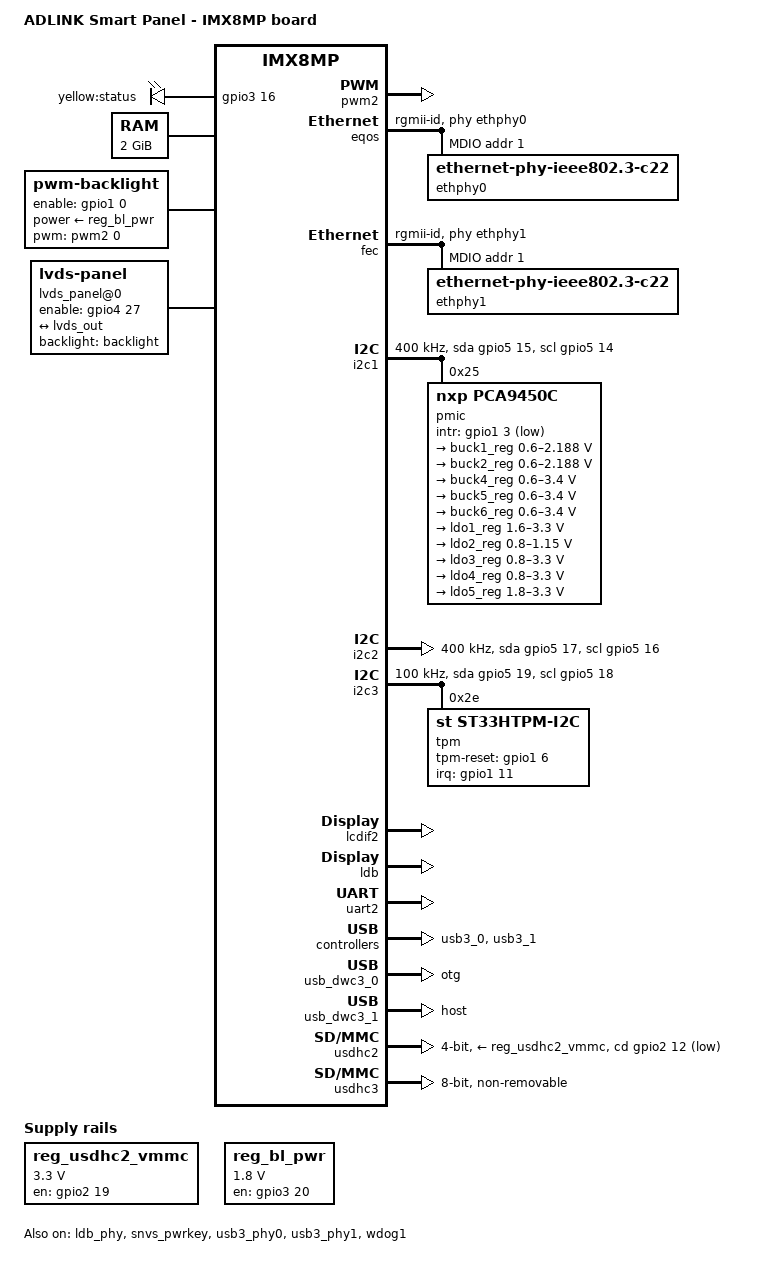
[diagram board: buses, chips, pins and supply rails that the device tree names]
// SPDX-License-Identifier: (GPL-2.0+ OR MIT)
/*
 * Copyright 2019 NXP
 */

/dts-v1/;

#include <dt-bindings/usb/pd.h>
#include "imx8mp.dtsi"

/ {
	model = "ADLINK Smart Panel - IMX8MP board";
	compatible = "fsl,imx8mp-evk", "fsl,imx8mp";

	chosen {
		bootargs = "console=ttymxc1,115200";
		stdout-path = &uart2;
	};

	gpio-leds {
		compatible = "gpio-leds";
		pinctrl-names = "default";
		pinctrl-0 = <&pinctrl_gpio_led>;

		status {
			label = "yellow:status";
			gpios = <&gpio3 16 GPIO_ACTIVE_HIGH>;
			default-state = "on";
		};
	};

	memory@40000000 {
		device_type = "memory";
		reg = <0x0 0x40000000 0 0x80000000>,
		      <0x1 0x00000000 0 0x00000000>;
	};

	reg_usdhc2_vmmc: regulator-usdhc2 {
		compatible = "regulator-fixed";
		pinctrl-names = "default";
		pinctrl-0 = <&pinctrl_reg_usdhc2_vmmc>;
		regulator-name = "VSD_3V3";
		regulator-min-microvolt = <3300000>;
		regulator-max-microvolt = <3300000>;
		gpio = <&gpio2 19 GPIO_ACTIVE_HIGH>;
		enable-active-high;
		startup-delay-us = <100>;
		off-on-delay-us = <12000>;
	};

	dsi_host: dsi-host {
		compatible = "samsung,sec-mipi-dsi";
		status = "disabled";
	};

	backlight: lvds-backlight {
		compatible = "pwm-backlight";
		power-supply = <&reg_bl_pwr>;
		pwms = <&pwm2 0 100000>;
		enable-gpios = <&gpio1 0 GPIO_ACTIVE_HIGH>; /* vin */
		brightness-levels = < 0  1  2  3  4  5  6  7  8  9
							10 11 12 13 14 15 16 17 18 19
							20 21 22 23 24 25 26 27 28 29
							30 31 32 33 34 35 36 37 38 39
							40 41 42 43 44 45 46 47 48 49
							50 51 52 53 54 55 56 57 58 59
							60 61 62 63 64 65 66 67 68 69
							70 71 72 73 74 75 76 77 78 79
							80 81 82 83 84 85 86 87 88 89
							90 91 92 93 94 95 96 97 98 99
							100>;
		default-brightness-level = <80>;
		status = "okay";
	};

	reg_bl_pwr: reg-bl-pwr {
		compatible = "regulator-fixed";
		regulator-name = "vdd";
		regulator-min-microvolt = <1800000>;
		regulator-max-microvolt = <1800000>;
		gpio = <&gpio3 20 GPIO_ACTIVE_HIGH>;
		enable-active-high;
		status = "okay";
	};

	lvds_panel@0 {
		compatible = "lvds-panel";
		backlight = <&backlight>;
		enable-gpios = <&gpio4 27 GPIO_ACTIVE_HIGH>; /* +VDD_PANEL */
		status = "okay";

		display-timings {
			native-mode = <&timing0>;
			timing0: timing0 {
				clock-frequency = <71000000>;
				hactive = <1280>;
				vactive = <800>;
				hfront-porch = <70>;
				hback-porch = <80>;
				hsync-len = <10>;
				vback-porch = <10>;
				vfront-porch = <10>;
				vsync-len = <3>;
			};
		};

		port {
			lvds_in: endpoint {
				remote-endpoint = <&lvds_out>;
			};
		};
	};
};

&pwm2 {
	pinctrl-names = "default";
	pinctrl-0 = <&pinctrl_bl_pwm2>;
	status = "okay";
};

&eqos {
	pinctrl-names = "default";
	pinctrl-0 = <&pinctrl_eqos>;
	phy-mode = "rgmii-id";
	phy-handle = <&ethphy0>;
	status = "okay";

	mdio {
		compatible = "snps,dwmac-mdio";
		#address-cells = <1>;
		#size-cells = <0>;

		ethphy0: ethernet-phy@1 {
			compatible = "ethernet-phy-ieee802.3-c22";
			reg = <1>;
			eee-broken-1000t;
		};
	};
};

&fec {
	pinctrl-names = "default";
	pinctrl-0 = <&pinctrl_fec>;
	phy-mode = "rgmii-id";
	phy-handle = <&ethphy1>;
	fsl,magic-packet;
	status = "okay";

	mdio {
		#address-cells = <1>;
		#size-cells = <0>;

		ethphy1: ethernet-phy@1 {
			compatible = "ethernet-phy-ieee802.3-c22";
			reg = <1>;
			eee-broken-1000t;
		};
	};
};

&i2c1 {
	clock-frequency = <400000>;
	pinctrl-names = "default", "gpio";
	pinctrl-0 = <&pinctrl_i2c1>;
	pinctrl-1 = <&pinctrl_i2c1_gpio>;
	scl-gpios = <&gpio5 14 GPIO_ACTIVE_HIGH>;
	sda-gpios = <&gpio5 15 GPIO_ACTIVE_HIGH>;
	status = "okay";

	pmic: pca9450@25 {
		reg = <0x25>;
		compatible = "nxp,pca9450c";
		/* PMIC PCA9450 PMIC_nINT GPIO1_IO3 */
		pinctrl-0 = <&pinctrl_pmic>;
		gpio_intr = <&gpio1 3 GPIO_ACTIVE_LOW>;

		regulators {
			#address-cells = <1>;
			#size-cells = <0>;

			pca9450,pmic-buck2-uses-i2c-dvs;
			/* Run/Standby voltage */
			pca9450,pmic-buck2-dvs-voltage = <950000>, <850000>;

			buck1_reg: regulator@0 {
				reg = <0>;
				regulator-compatible = "buck1";
				regulator-min-microvolt = <600000>;
				regulator-max-microvolt = <2187500>;
				regulator-boot-on;
				regulator-always-on;
				regulator-ramp-delay = <3125>;
			};

			buck2_reg: regulator@1 {
				reg = <1>;
				regulator-compatible = "buck2";
				regulator-min-microvolt = <600000>;
				regulator-max-microvolt = <2187500>;
				regulator-boot-on;
				regulator-always-on;
				regulator-ramp-delay = <3125>;
			};

			buck4_reg: regulator@3 {
				reg = <3>;
				regulator-compatible = "buck4";
				regulator-min-microvolt = <600000>;
				regulator-max-microvolt = <3400000>;
				regulator-boot-on;
				regulator-always-on;
			};

			buck5_reg: regulator@4 {
				reg = <4>;
				regulator-compatible = "buck5";
				regulator-min-microvolt = <600000>;
				regulator-max-microvolt = <3400000>;
				regulator-boot-on;
				regulator-always-on;
			};

			buck6_reg: regulator@5 {
				reg = <5>;
				regulator-compatible = "buck6";
				regulator-min-microvolt = <600000>;
				regulator-max-microvolt = <3400000>;
				regulator-boot-on;
				regulator-always-on;
			};

			ldo1_reg: regulator@6 {
				reg = <6>;
				regulator-compatible = "ldo1";
				regulator-min-microvolt = <1600000>;
				regulator-max-microvolt = <3300000>;
				regulator-boot-on;
				regulator-always-on;
			};

			ldo2_reg: regulator@7 {
				reg = <7>;
				regulator-compatible = "ldo2";
				regulator-min-microvolt = <800000>;
				regulator-max-microvolt = <1150000>;
				regulator-boot-on;
				regulator-always-on;
			};

			ldo3_reg: regulator@8 {
				reg = <8>;
				regulator-compatible = "ldo3";
				regulator-min-microvolt = <800000>;
				regulator-max-microvolt = <3300000>;
				regulator-boot-on;
				regulator-always-on;
			};

			ldo4_reg: regulator@9 {
				reg = <9>;
				regulator-compatible = "ldo4";
				regulator-min-microvolt = <800000>;
				regulator-max-microvolt = <3300000>;
				regulator-boot-on;
				regulator-always-on;
			};

			ldo5_reg: regulator@10 {
				reg = <10>;
				regulator-compatible = "ldo5";
				regulator-min-microvolt = <1800000>;
				regulator-max-microvolt = <3300000>;
			};
		};
	};
};

&i2c2 {
	clock-frequency = <400000>;
	pinctrl-names = "default", "gpio";
	pinctrl-0 = <&pinctrl_i2c2>;
	pinctrl-1 = <&pinctrl_i2c2_gpio>;
	scl-gpios = <&gpio5 16 GPIO_ACTIVE_HIGH>;
	sda-gpios = <&gpio5 17 GPIO_ACTIVE_HIGH>;
	status = "okay";
};

&i2c3 {
	clock-frequency = <100000>;
	pinctrl-names = "default", "gpio";
	pinctrl-0 = <&pinctrl_i2c3>;
	pinctrl-1 = <&pinctrl_i2c3_gpio>;
	scl-gpios = <&gpio5 18 GPIO_ACTIVE_HIGH>;
	sda-gpios = <&gpio5 19 GPIO_ACTIVE_HIGH>;
	status = "okay";

        /* TPM: ST33HTPH2X32AHD5 */
        tpm: st33htph77@2e {
            reg = <0x2e>;
            compatible = "st,st33htpm-i2c";
            pinctrl-names = "default";
            pinctrl-0 = <&pinctrl_tpm>;
            /* MX8MP_IOMUXC_GPIO1_IO11__GPIO1_IO11 (TPM_INT_N) */
            interrupt-parent = <&gpio1>;
            interrupts = <11 IRQ_TYPE_EDGE_FALLING>;
            /* MX8MP_IOMUXC_GPIO1_IO06__GPIO1_IO06 (TPM_RST#) */
            tpm-reset = <&gpio1 6 GPIO_ACTIVE_HIGH>;
            reset-assert-us = <10000>;
        };
};

/* lcdif1 - for mipi-dsi */
/* lcdif2 - for lvds */
/* lcdif3 - for hdmi */
&lcdif2 {
	status = "okay";
};

&ldb {
	status = "okay";

	lvds-channel@0 {
		fsl,data-mapping = "spwg"; /* spwg or jeida */
		fsl,data-width = <24>;
		status = "okay";

		port@1 {
			reg = <1>;

			lvds_out: endpoint {
				remote-endpoint = <&lvds_in>;
			};
		};
	};
};

&ldb_phy {
	status = "okay";
};

&snvs_pwrkey {
	status = "okay";
};

&uart2 {
	/* console */
	pinctrl-names = "default";
	pinctrl-0 = <&pinctrl_uart2>;
	status = "okay";
};

&usb3_phy0 {
	fsl,phy-tx-vref-tune = <0xe>;
	fsl,phy-tx-preemp-amp-tune = <3>;
	fsl,phy-tx-vboost-level = <5>;
	fsl,phy-comp-dis-tune = <7>;
	fsl,pcs-tx-deemph-3p5db = <0x21>;
	fsl,phy-pcs-tx-swing-full = <0x7f>;
	status = "okay";
};

&usb3_0 {
	status = "okay";
};

&usb_dwc3_0 {
	pinctrl-0 = <&pinctrl_usb0_id>,<&pinctrl_usb0_mux>;
	mux_gpios = <&gpio1 1 GPIO_ACTIVE_HIGH>;
	dr_mode = "otg";
	hnp-disable;
	srp-disable;
	adp-disable;
	usb-role-switch;
	role-switch-default-mode = "none";
	status = "okay";

};

&usb3_phy1 {
	fsl,phy-tx-preemp-amp-tune = <3>;
	fsl,phy-tx-vref-tune = <0xb>;
	status = "okay";
};

&usb3_1 {
	status = "okay";
};

&usb_dwc3_1 {
	pinctrl-names = "default";
	pinctrl-0 = <&pinctrl_usb1_vbus>;
	dr_mode = "host";
	status = "okay";
};

&usdhc2 {
	pinctrl-names = "default", "state_100mhz", "state_200mhz";
	pinctrl-0 = <&pinctrl_usdhc2>, <&pinctrl_usdhc2_gpio>;
	pinctrl-1 = <&pinctrl_usdhc2_100mhz>, <&pinctrl_usdhc2_gpio>;
	pinctrl-2 = <&pinctrl_usdhc2_200mhz>, <&pinctrl_usdhc2_gpio>;
	cd-gpios = <&gpio2 12 GPIO_ACTIVE_LOW>;
	vmmc-supply = <&reg_usdhc2_vmmc>;
	bus-width = <4>;
	status = "okay";
};

&usdhc3 {
	pinctrl-names = "default", "state_100mhz", "state_200mhz";
	pinctrl-0 = <&pinctrl_usdhc3>;
	pinctrl-1 = <&pinctrl_usdhc3_100mhz>;
	pinctrl-2 = <&pinctrl_usdhc3_200mhz>;
	bus-width = <8>;
	non-removable;
	status = "okay";
};

&wdog1 {
	pinctrl-names = "default";
	pinctrl-0 = <&pinctrl_wdog>;
	fsl,ext-reset-output;
	status = "okay";
};

&iomuxc {
	pinctrl-names = "default";

	pinctrl_tpm: tpmgrp {
		fsl,pins = <
			MX8MP_IOMUXC_GPIO1_IO11__GPIO1_IO11           0x156
			MX8MP_IOMUXC_GPIO1_IO06__GPIO1_IO06        0x156	//TPM reset
		>;
	};

	pinctrl_backlight: backlightgrp {
		fsl,pins = <
			MX8MP_IOMUXC_GPIO1_IO00__GPIO1_IO00	0x16
		>;
	};

	pinctrl_bl_pwm2: blpwm2grp {
		fsl,pins = <
			MX8MP_IOMUXC_GPIO1_IO11__PWM2_OUT	0x116
		>;
	};

	pinctrl_reg_lvds_vdd: reglvdsvddgrp {
		fsl,pins = <
			MX8MP_IOMUXC_SAI2_MCLK__GPIO4_IO27	0x16
		>;
	};

	pinctrl_eqos: eqosgrp {
		fsl,pins = <
			MX8MP_IOMUXC_ENET_MDC__ENET_QOS_MDC	0x3
			MX8MP_IOMUXC_ENET_MDIO__ENET_QOS_MDIO	0x3
			MX8MP_IOMUXC_ENET_RD0__ENET_QOS_RGMII_RD0	0x91
			MX8MP_IOMUXC_ENET_RD1__ENET_QOS_RGMII_RD1	0x91
			MX8MP_IOMUXC_ENET_RD2__ENET_QOS_RGMII_RD2	0x91
			MX8MP_IOMUXC_ENET_RD3__ENET_QOS_RGMII_RD3	0x91
			MX8MP_IOMUXC_ENET_RXC__CCM_ENET_QOS_CLOCK_GENERATE_RX_CLK	0x91
			MX8MP_IOMUXC_ENET_RX_CTL__ENET_QOS_RGMII_RX_CTL	0x91
			MX8MP_IOMUXC_ENET_TD0__ENET_QOS_RGMII_TD0		0x1f
			MX8MP_IOMUXC_ENET_TD1__ENET_QOS_RGMII_TD1		0x1f
			MX8MP_IOMUXC_ENET_TD2__ENET_QOS_RGMII_TD2		0x1f
			MX8MP_IOMUXC_ENET_TD3__ENET_QOS_RGMII_TD3		0x1f
			MX8MP_IOMUXC_ENET_TX_CTL__ENET_QOS_RGMII_TX_CTL	0x1f
			MX8MP_IOMUXC_ENET_TXC__CCM_ENET_QOS_CLOCK_GENERATE_TX_CLK	0x1f
			MX8MP_IOMUXC_SAI2_RXC__GPIO4_IO22		0x19
            MX8MP_IOMUXC_SAI2_RXFS__GPIO4_IO21         0x00000106   //ENET INT
			MX8MP_IOMUXC_GPIO1_IO08__ENET_QOS_1588_EVENT0_IN	0x106
			MX8MP_IOMUXC_GPIO1_IO09__ENET_QOS_1588_EVENT0_OUT	0x106
		>;
	};

	pinctrl_fec: fecgrp {
		fsl,pins = <
			MX8MP_IOMUXC_SAI1_RXD2__ENET1_MDC		0x3
			MX8MP_IOMUXC_SAI1_RXD3__ENET1_MDIO		0x3
			MX8MP_IOMUXC_SAI1_RXD4__ENET1_RGMII_RD0		0x91
			MX8MP_IOMUXC_SAI1_RXD5__ENET1_RGMII_RD1		0x91
			MX8MP_IOMUXC_SAI1_RXD6__ENET1_RGMII_RD2		0x91
			MX8MP_IOMUXC_SAI1_RXD7__ENET1_RGMII_RD3		0x91
			MX8MP_IOMUXC_SAI1_TXC__ENET1_RGMII_RXC		0x91
			MX8MP_IOMUXC_SAI1_TXFS__ENET1_RGMII_RX_CTL	0x91
			MX8MP_IOMUXC_SAI1_TXD0__ENET1_RGMII_TD0		0x1f
			MX8MP_IOMUXC_SAI1_TXD1__ENET1_RGMII_TD1		0x1f
			MX8MP_IOMUXC_SAI1_TXD2__ENET1_RGMII_TD2		0x1f
			MX8MP_IOMUXC_SAI1_TXD3__ENET1_RGMII_TD3		0x1f
			MX8MP_IOMUXC_SAI1_TXD4__ENET1_RGMII_TX_CTL	0x1f
			MX8MP_IOMUXC_SAI1_TXD5__ENET1_RGMII_TXC		0x1f
			MX8MP_IOMUXC_SAI1_RXD0__GPIO4_IO02		0x19
            MX8MP_IOMUXC_SAI1_RXD1__GPIO4_IO03         0x00000106   //ENET1 INT
            MX8MP_IOMUXC_SAI1_RXC__ENET1_1588_EVENT0_OUT    0x00000106
            MX8MP_IOMUXC_SAI1_RXFS__ENET1_1588_EVENT0_IN    0x00000106
		>;
	};

	pinctrl_gpio_led: gpioledgrp {
		fsl,pins = <
			MX8MP_IOMUXC_NAND_READY_B__GPIO3_IO16	0x19
		>;
	};

	pinctrl_i2c1: i2c1grp {
		fsl,pins = <
			MX8MP_IOMUXC_I2C1_SCL__I2C1_SCL		0x400001c3
			MX8MP_IOMUXC_I2C1_SDA__I2C1_SDA		0x400001c3
		>;
	};

	pinctrl_i2c2: i2c2grp {
		fsl,pins = <
			MX8MP_IOMUXC_I2C2_SCL__I2C2_SCL			0x400001c3
			MX8MP_IOMUXC_I2C2_SDA__I2C2_SDA			0x400001c3
		>;
	};

	pinctrl_i2c3: i2c3grp {
		fsl,pins = <
			MX8MP_IOMUXC_I2C3_SCL__I2C3_SCL			0x400001c3
			MX8MP_IOMUXC_I2C3_SDA__I2C3_SDA			0x400001c3
		>;
	};

	pinctrl_i2c1_gpio: i2c1grp-gpio {
		fsl,pins = <
			MX8MP_IOMUXC_I2C1_SCL__GPIO5_IO14        	0x1c3
			MX8MP_IOMUXC_I2C1_SDA__GPIO5_IO15        	0x1c3
		>;
	};

	pinctrl_i2c2_gpio: i2c2grp-gpio {
		fsl,pins = <
			MX8MP_IOMUXC_I2C2_SCL__GPIO5_IO16        	0x1c3
			MX8MP_IOMUXC_I2C2_SDA__GPIO5_IO17        	0x1c3
		>;
	};

	pinctrl_i2c3_gpio: i2c3grp-gpio {
		fsl,pins = <
			MX8MP_IOMUXC_I2C3_SCL__GPIO5_IO18        	0x1c3
			MX8MP_IOMUXC_I2C3_SDA__GPIO5_IO19        	0x1c3
		>;
	};

	pinctrl_mipi_dsi_en: mipi_dsi_en {
		fsl,pins = <
			MX8MP_IOMUXC_GPIO1_IO08__GPIO1_IO08	0x16
		>;
	};

	pinctrl_pmic: pmicirq {
		fsl,pins = <
			MX8MP_IOMUXC_GPIO1_IO03__GPIO1_IO03	0x41
		>;
	};

	pinctrl_typec: typec1grp {
		fsl,pins = <
			MX8MP_IOMUXC_SAI1_TXD7__GPIO4_IO19	0x1c4
		>;
	};

	pinctrl_typec_mux: typec1muxgrp {
		fsl,pins = <
			MX8MP_IOMUXC_SAI1_MCLK__GPIO4_IO20	0x16
		>;
	};

	pinctrl_reg_usdhc2_vmmc: regusdhc2vmmc {
		fsl,pins = <
			MX8MP_IOMUXC_SD2_RESET_B__GPIO2_IO19	0x41
		>;
	};

	pinctrl_uart2: uart2grp {
		fsl,pins = <
			MX8MP_IOMUXC_UART2_RXD__UART2_DCE_RX	0x140
			MX8MP_IOMUXC_UART2_TXD__UART2_DCE_TX	0x140
		>;
	};

	pinctrl_usb0_id: usb0_id_grp {
		fsl,pins = <
			MX8MP_IOMUXC_GPIO1_IO10__USB1_OTG_ID		0x19
		>;
	};
	
	pinctrl_usb0_mux: usb0_mux_grp {
		fsl,pins = <
	        MX8MP_IOMUXC_GPIO1_IO01__GPIO1_IO01     0x19	//GPIO_USB_MUX_SEL(Need check boot status is high or low)
		>;
	};

	pinctrl_usb1_vbus: usb1grp {
		fsl,pins = <
			MX8MP_IOMUXC_GPIO1_IO14__USB2_OTG_PWR	0x19
		>;
	};

	pinctrl_usdhc2: usdhc2grp {
		fsl,pins = <
			MX8MP_IOMUXC_SD2_CLK__USDHC2_CLK	0x190
			MX8MP_IOMUXC_SD2_CMD__USDHC2_CMD	0x1d0
			MX8MP_IOMUXC_SD2_DATA0__USDHC2_DATA0	0x1d0
			MX8MP_IOMUXC_SD2_DATA1__USDHC2_DATA1	0x1d0
			MX8MP_IOMUXC_SD2_DATA2__USDHC2_DATA2	0x1d0
			MX8MP_IOMUXC_SD2_DATA3__USDHC2_DATA3	0x1d0
			MX8MP_IOMUXC_GPIO1_IO04__USDHC2_VSELECT	0xc1
		>;
	};

	pinctrl_usdhc2_100mhz: usdhc2-100mhzgrp {
		fsl,pins = <
			MX8MP_IOMUXC_SD2_CLK__USDHC2_CLK	0x194
			MX8MP_IOMUXC_SD2_CMD__USDHC2_CMD	0x1d4
			MX8MP_IOMUXC_SD2_DATA0__USDHC2_DATA0	0x1d4
			MX8MP_IOMUXC_SD2_DATA1__USDHC2_DATA1	0x1d4
			MX8MP_IOMUXC_SD2_DATA2__USDHC2_DATA2	0x1d4
			MX8MP_IOMUXC_SD2_DATA3__USDHC2_DATA3	0x1d4
			MX8MP_IOMUXC_GPIO1_IO04__USDHC2_VSELECT 0xc1
		>;
	};

	pinctrl_usdhc2_200mhz: usdhc2-200mhzgrp {
		fsl,pins = <
			MX8MP_IOMUXC_SD2_CLK__USDHC2_CLK	0x196
			MX8MP_IOMUXC_SD2_CMD__USDHC2_CMD	0x1d6
			MX8MP_IOMUXC_SD2_DATA0__USDHC2_DATA0	0x1d6
			MX8MP_IOMUXC_SD2_DATA1__USDHC2_DATA1	0x1d6
			MX8MP_IOMUXC_SD2_DATA2__USDHC2_DATA2	0x1d6
			MX8MP_IOMUXC_SD2_DATA3__USDHC2_DATA3	0x1d6
			MX8MP_IOMUXC_GPIO1_IO04__USDHC2_VSELECT 0xc1
		>;
	};

	pinctrl_usdhc2_gpio: usdhc2gpiogrp {
		fsl,pins = <
			MX8MP_IOMUXC_SD2_CD_B__GPIO2_IO12	0x1c4
		>;
	};

	pinctrl_usdhc3: usdhc3grp {
		fsl,pins = <
			MX8MP_IOMUXC_NAND_WE_B__USDHC3_CLK	0x190
			MX8MP_IOMUXC_NAND_WP_B__USDHC3_CMD	0x1d0
			MX8MP_IOMUXC_NAND_DATA04__USDHC3_DATA0	0x1d0
			MX8MP_IOMUXC_NAND_DATA05__USDHC3_DATA1	0x1d0
			MX8MP_IOMUXC_NAND_DATA06__USDHC3_DATA2	0x1d0
			MX8MP_IOMUXC_NAND_DATA07__USDHC3_DATA3	0x1d0
			MX8MP_IOMUXC_NAND_RE_B__USDHC3_DATA4	0x1d0
			MX8MP_IOMUXC_NAND_CE2_B__USDHC3_DATA5	0x1d0
			MX8MP_IOMUXC_NAND_CE3_B__USDHC3_DATA6	0x1d0
			MX8MP_IOMUXC_NAND_CLE__USDHC3_DATA7	0x1d0
			MX8MP_IOMUXC_NAND_CE1_B__USDHC3_STROBE	0x190
		>;
	};

	pinctrl_usdhc3_100mhz: usdhc3-100mhzgrp {
		fsl,pins = <
			MX8MP_IOMUXC_NAND_WE_B__USDHC3_CLK	0x194
			MX8MP_IOMUXC_NAND_WP_B__USDHC3_CMD	0x1d4
			MX8MP_IOMUXC_NAND_DATA04__USDHC3_DATA0	0x1d4
			MX8MP_IOMUXC_NAND_DATA05__USDHC3_DATA1	0x1d4
			MX8MP_IOMUXC_NAND_DATA06__USDHC3_DATA2	0x1d4
			MX8MP_IOMUXC_NAND_DATA07__USDHC3_DATA3	0x1d4
			MX8MP_IOMUXC_NAND_RE_B__USDHC3_DATA4	0x1d4
			MX8MP_IOMUXC_NAND_CE2_B__USDHC3_DATA5	0x1d4
			MX8MP_IOMUXC_NAND_CE3_B__USDHC3_DATA6	0x1d4
			MX8MP_IOMUXC_NAND_CLE__USDHC3_DATA7	0x1d4
			MX8MP_IOMUXC_NAND_CE1_B__USDHC3_STROBE	0x194
		>;
	};

	pinctrl_usdhc3_200mhz: usdhc3-200mhzgrp {
		fsl,pins = <
			MX8MP_IOMUXC_NAND_WE_B__USDHC3_CLK	0x196
			MX8MP_IOMUXC_NAND_WP_B__USDHC3_CMD	0x1d6
			MX8MP_IOMUXC_NAND_DATA04__USDHC3_DATA0	0x1d6
			MX8MP_IOMUXC_NAND_DATA05__USDHC3_DATA1	0x1d6
			MX8MP_IOMUXC_NAND_DATA06__USDHC3_DATA2	0x1d6
			MX8MP_IOMUXC_NAND_DATA07__USDHC3_DATA3	0x1d6
			MX8MP_IOMUXC_NAND_RE_B__USDHC3_DATA4	0x1d6
			MX8MP_IOMUXC_NAND_CE2_B__USDHC3_DATA5	0x1d6
			MX8MP_IOMUXC_NAND_CE3_B__USDHC3_DATA6	0x1d6
			MX8MP_IOMUXC_NAND_CLE__USDHC3_DATA7	0x1d6
			MX8MP_IOMUXC_NAND_CE1_B__USDHC3_STROBE	0x196
		>;
	};

	pinctrl_wdog: wdoggrp {
		fsl,pins = <
			MX8MP_IOMUXC_GPIO1_IO02__WDOG1_WDOG_B	0xc6
		>;
	};
};
